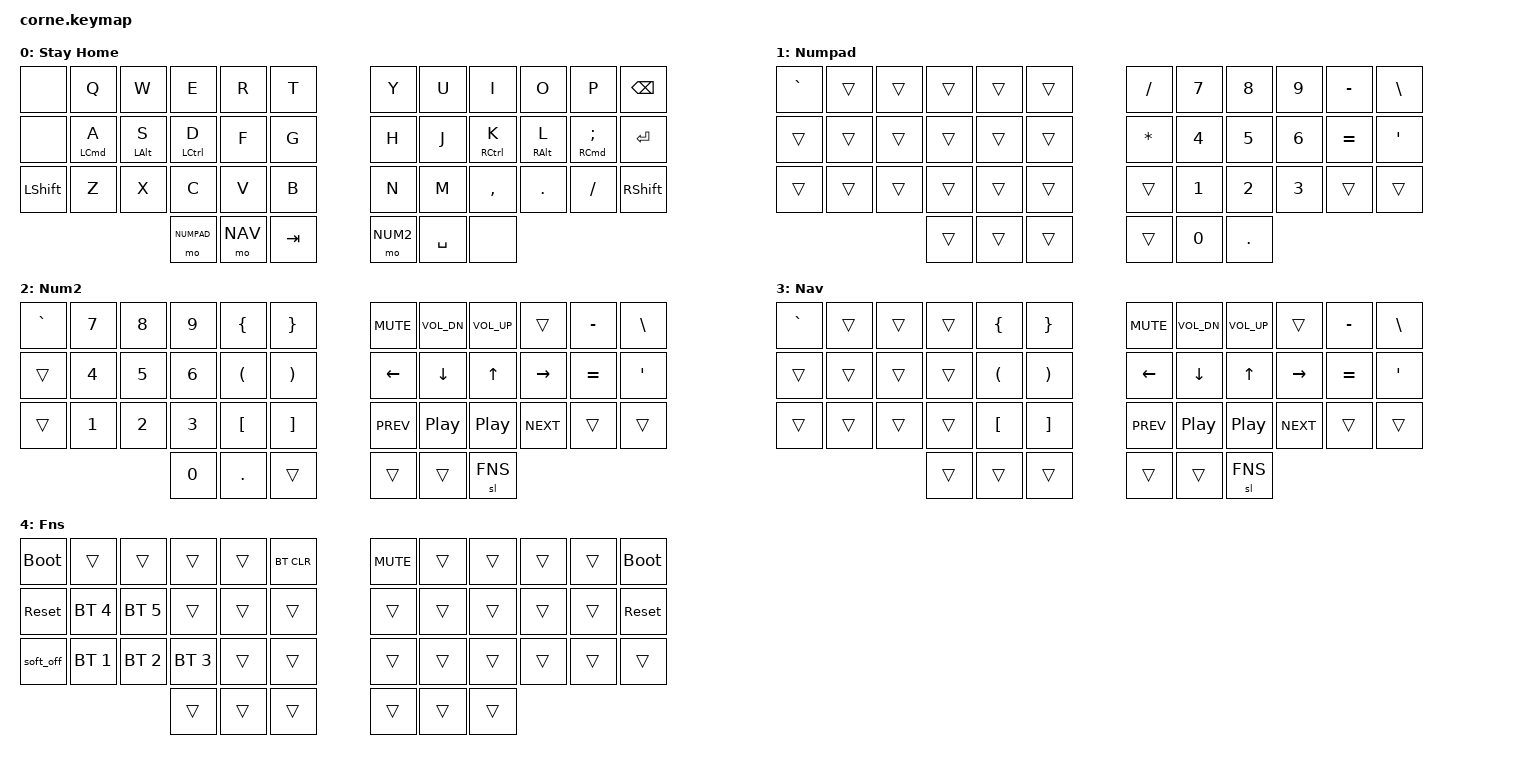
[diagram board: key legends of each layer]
/*
 * Copyright (c) 2020 The ZMK Contributors
 *
 * SPDX-License-Identifier: MIT
 */

#include <behaviors.dtsi>
#include <dt-bindings/zmk/keys.h>
#include <dt-bindings/zmk/bt.h>


#define STAY_HOME 0
#define NUMPAD    1
#define NUM2      2
#define NAV       3
#define FNS       4

#define LOPT LALT
#define ROPT RALT

#define KEYS_L 0 1 2 3 4 5 12 13 14 15 16 17 24 25 26 27 28 29
#define KEYS_R 6 7 8 9 10 11 18 19 20 21 22 23 30 31 32 33 34 35
#define THUMBS 36 37 38 39 40 41

/ {
  keymap {
    compatible = "zmk,keymap";
    stay_home_layer {
      display-name = "Stay Home";
      bindings = <
// ┏━━━━━━━┯━━━━━━━┯━━━━━━━┯━━━━━━━┯━━━━━━━┯━━━━━━━┓              ┏━━━━━━━┯━━━━━━━┯━━━━━━━┯━━━━━━━┯━━━━━━━┯━━━━━━━┓
// ┃       │   Q   │   W   │   E   │   R   │   T   ┃              ┃   Y   │   U   │   I   │   O   │   P   │  BKSP ┃
// ┠───────┼───────┼───────┼───────┼───────┼───────┨              ┠───────┼───────┼───────┼───────┼───────┼───────┨
// ┃       │  A ⌘  │  S ⌥  │  D ⌃  │   F   │   G   ┃              ┃   H   │   J   │  K ⌃  │  L ⌥  │ ; : ⌘ │  RET  ┃
// ┠───────┼───────┼───────┼───────┼───────┼───────┨              ┠───────┼───────┼───────┼───────┼───────┼───────┨
// ┃ SHIFT │   Z   │   X   │   C   │   V   │   B   ┃              ┃   N   │   M   │  , <  │  . >  │  / ?  │ SHIFT ┃
// ┗━━━━━━━┷━━━━━━━┷━━━━━━━╅───────┼───────┼───────┨              ┠───────┼───────┼───────╆━━━━━━━┷━━━━━━━┷━━━━━━━┛
//                         ┃NUMPAD │  NAV  │  TAB  ┃              ┃ NUM2  │ SPACE │       ┃
//                         ┗━━━━━━━┷━━━━━━━┷━━━━━━━┛              ┗━━━━━━━┷━━━━━━━┷━━━━━━━┛
    &none     &kp Q       &kp W       &kp E        &kp R   &kp T      &kp Y    &kp U     &kp I        &kp O       &kp P          &kp BSPC
    &none     &hml LCMD A &hml LOPT S &hml LCTRL D &kp F   &kp G      &kp H    &kp J     &hmr RCTRL K &hmr ROPT L &hmr RCMD SEMI &kp RET
    &kp LSHFT &kp Z       &kp X       &kp C        &kp V   &kp B      &kp N    &kp M     &kp COMMA    &kp DOT     &kp FSLH       &kp RSHFT
                                       &mo NUMPAD   &mo NAV &kp TAB    &mo NUM2 &kp SPACE &none
      >;
    };

    numpad_layer {
      display-name = "Numpad";
      bindings = <
// ┏━━━━━━━┯━━━━━━━┯━━━━━━━┯━━━━━━━┯━━━━━━━┯━━━━━━━┓     ┏━━━━━━━┯━━━━━━━┯━━━━━━━┯━━━━━━━┯━━━━━━━┯━━━━━━━┓
// ┃  ` ~  │       │       │       │       │       ┃     ┃  / ?  │  7 &  │  8 *  │  9 (  │  - _  │  \ |  ┃
// ┠───────┼───────┼───────┼───────┼───────┼───────┨     ┠───────┼───────┼───────┼───────┼───────┼───────┨
// ┃       │       │       │       │       │       ┃     ┃   *   │  4 $  │  5 %  │  6 ^  │  = +  │  ' "  ┃
// ┠───────┼───────┼───────┼───────┼───────┼───────┨     ┠───────┼───────┼───────┼───────┼───────┼───────┨
// ┃       │       │       │       │       │       ┃     ┃       │  1 !  │  2 @  │  3 #  │       │       ┃
// ┗━━━━━━━┷━━━━━━━┷━━━━━━━╅───────┼───────┼───────┨     ┠───────┼───────┼───────╆━━━━━━━┷━━━━━━━┷━━━━━━━┛
//                         ┃       │       │       ┃     ┃       │  0 )  │  . >  ┃
//                         ┗━━━━━━━┷━━━━━━━┷━━━━━━━┛     ┗━━━━━━━┷━━━━━━━┷━━━━━━━┛
    &kp GRAVE  &trans  &trans  &trans  &trans  &trans     &kp SLASH  &kp N7  &kp N8  &kp N9  &kp MINUS  &kp BSLH
    &trans     &trans  &trans  &trans  &trans  &trans     &kp STAR   &kp N4  &kp N5  &kp N6  &kp EQUAL  &kp APOS
    &trans     &trans  &trans  &trans  &trans  &trans     &trans     &kp N1  &kp N2  &kp N3  &trans  &trans
                               &trans  &trans  &trans     &trans     &kp N0  &kp DOT
      >;
    };

    other_number_layer {
      display-name = "Num2";
      bindings = <
// ┏━━━━━━━┯━━━━━━━┯━━━━━━━┯━━━━━━━┯━━━━━━━┯━━━━━━━┓         ┏━━━━━━━┯━━━━━━━┯━━━━━━━┯━━━━━━━┯━━━━━━━┯━━━━━━━┓
// ┃  ` ~  │  7 &  │  8 *  │  9 (  │   {   │   }   ┃         ┃ MUTE  │ VOL ▼ │ VOL ▲ │       │  - _  │  \ |  ┃
// ┠───────┼───────┼───────┼───────┼───────┼───────┨         ┠───────┼───────┼───────┼───────┼───────┼───────┨
// ┃       │  4 $  │  5 %  │  6 ^  │   (   │   )   ┃         ┃   ◀   │   ▼   │   ▲   │   ▶   │  = +  │  ' "  ┃
// ┠───────┼───────┼───────┼───────┼───────┼───────┨         ┠───────┼───────┼───────┼───────┼───────┼───────┨
// ┃       │  1 !  │  2 @  │  3 #  │   [   │   ]   ┃         ┃ PREV  │PLY/PS │PLY/PS │ NEXT  │       │       ┃
// ┗━━━━━━━┷━━━━━━━┷━━━━━━━╅───────┼───────┼───────┨         ┠───────┼───────┼───────╆━━━━━━━┷━━━━━━━┷━━━━━━━┛
//                         ┃  0 )  │  . >  │ <TAB> ┃         ┃       │       │STKY FN┃
//                         ┗━━━━━━━┷━━━━━━━┷━━━━━━━┛         ┗━━━━━━━┷━━━━━━━┷━━━━━━━┛
    &kp GRAVE  &kp N7  &kp N8  &kp N9  &kp LBRC  &kp RBRC     &kp C_MUTE &kp C_VOL_DN &kp C_VOL_UP &trans     &kp MINUS  &kp BSLH
    &trans     &kp N4  &kp N5  &kp N6  &kp LPAR  &kp RPAR     &kp LEFT   &kp DOWN     &kp UP       &kp RIGHT  &kp EQUAL  &kp APOS
    &trans     &kp N1  &kp N2  &kp N3  &kp LBKT  &kp RBKT     &kp C_PREV &kp C_PP     &kp C_PP     &kp C_NEXT &trans     &trans
                               &kp N0  &kp DOT   &trans       &trans     &trans       &sl FNS
      >;
    };

    nav_layer {
      display-name = "Nav";
      bindings = <
// ┏━━━━━━━┯━━━━━━━┯━━━━━━━┯━━━━━━━┯━━━━━━━┯━━━━━━━┓         ┏━━━━━━━┯━━━━━━━┯━━━━━━━┯━━━━━━━┯━━━━━━━┯━━━━━━━┓
// ┃  ` ~  │       │       │       │   {   │   }   ┃         ┃ MUTE  │ VOL ▼ │ VOL ▲ │       │  - _  │  \ |  ┃
// ┠───────┼───────┼───────┼───────┼───────┼───────┨         ┠───────┼───────┼───────┼───────┼───────┼───────┨
// ┃       │       │       │       │   (   │   )   ┃         ┃   ◀   │   ▼   │   ▲   │   ▶   │  = +  │  ' "  ┃
// ┠───────┼───────┼───────┼───────┼───────┼───────┨         ┠───────┼───────┼───────┼───────┼───────┼───────┨
// ┃       │       │       │       │   [   │   ]   ┃         ┃ PREV  │PLY/PS │PLY/PS │ NEXT  │       │       ┃
// ┗━━━━━━━┷━━━━━━━┷━━━━━━━╅───────┼───────┼───────┨         ┠───────┼───────┼───────╆━━━━━━━┷━━━━━━━┷━━━━━━━┛
//                         ┃       │       │       ┃         ┃       │       │STKY FN┃
//                         ┗━━━━━━━┷━━━━━━━┷━━━━━━━┛         ┗━━━━━━━┷━━━━━━━┷━━━━━━━┛
    &kp GRAVE  &trans  &trans  &trans  &kp LBRC  &kp RBRC     &kp C_MUTE &kp C_VOL_DN &kp C_VOL_UP &trans     &kp MINUS  &kp BSLH
    &trans     &trans  &trans  &trans  &kp LPAR  &kp RPAR     &kp LEFT   &kp DOWN     &kp UP       &kp RIGHT  &kp EQUAL  &kp APOS
    &trans     &trans  &trans  &trans  &kp LBKT  &kp RBKT     &kp C_PREV &kp C_PP     &kp C_PP     &kp C_NEXT &trans     &trans
                               &trans  &trans    &trans       &trans     &trans       &sl FNS
      >;
    };

    function_layer {
      display-name = "Fns";
      bindings = <
// ┏━━━━━━━┯━━━━━━━┯━━━━━━━┯━━━━━━━┯━━━━━━━┯━━━━━━━┓                     ┏━━━━━━━┯━━━━━━━┯━━━━━━━┯━━━━━━━┯━━━━━━━┯━━━━━━━┓
// ┃ BOOT  │       │       │       │       │BT CLR ┃                     ┃ MUTE* │       │       │       │       │ BOOT  ┃
// ┠───────┼───────┼───────┼───────┼───────┼───────┨                     ┠───────┼───────┼───────┼───────┼───────┼───────┨
// ┃ RESET │ BT 4  │ BT 5  │       │       │       ┃                     ┃       │       │       │       │       │ RESET ┃
// ┠───────┼───────┼───────┼───────┼───────┼───────┨                     ┠───────┼───────┼───────┼───────┼───────┼───────┨
// ┃SOFTOFF│ BT 1  │ BT 2  │ BT 3  │       │       ┃                     ┃       │       │       │       │       │       ┃
// ┗━━━━━━━┷━━━━━━━┷━━━━━━━╅───────┼───────┼───────┨                     ┠───────┼───────┼───────╆━━━━━━━┷━━━━━━━┷━━━━━━━┛
//                         ┃       │       │       ┃                     ┃       │       │       ┃
//                         ┗━━━━━━━┷━━━━━━━┷━━━━━━━┛                     ┗━━━━━━━┷━━━━━━━┷━━━━━━━┛
//  Reach this layer: hold NUMPAD + NAV together, or tap STKY FN on NUM2/NAV
//  MUTE*: use as a canary to make sure you can get to this layer
//  BOOT, RESET: act only on the half that is pressed, so each half has its own
//  SOFTOFF: hold 1 s to turn both halves fully off; press each half's reset button to turn on
    &bootloader  &trans        &trans        &trans        &trans  &bt BT_CLR  &kp C_MUTE  &trans  &trans  &trans  &trans  &bootloader
    &sys_reset   &bt BT_SEL 4  &bt BT_SEL 5  &trans        &trans  &trans      &trans      &trans  &trans  &trans  &trans  &sys_reset
    &soft_off    &bt BT_SEL 1  &bt BT_SEL 2  &bt BT_SEL 3  &trans  &trans      &trans      &trans  &trans  &trans  &trans  &trans
                                             &trans        &trans  &trans      &trans      &trans  &trans
      >;
    };
  };
};

////// CONDITIONAL LAYERS //////////////////////////////////////////////////////////////////////////////
// Hold both left thumb layer keys to get FNS:
//                         ┏━━━━━━━┯━━━━━━━┯━━━━━━━┓
//                         ┃NUMPAD │  NAV  │  TAB  ┃
//                         ┗━━━┯━━━┷━━━┯━━━┷━━━━━━━┛
//                             └── + ──┘
//                                FNS
/ {
  conditional_layers {
    compatible = "zmk,conditional-layers";
    tri_layer {
      if-layers = <NUMPAD NAV>;
      then-layer = <FNS>;
    };
  };
};

////// COMBOS /////////////////////////////////////////////////////////////////////////////////////////
// ┏━━━━━━━┯━━━━━━━┯━━━━━━━┯━━━━━━━┯━━━━━━━┯━━━━━━━┓  ┏━━━━━━━┯━━━━━━━┯━━━━━━━┯━━━━━━━┯━━━━━━━┯━━━━━━━┓
// ┃   0   │   1   │   2   │   3   │   4   │   5   ┃  ┃   6   │   7   │   8   │   9   │  10   │  11   ┃
// ┠───────┼───────┼───────┼───────┼───────┼───────┨  ┠───────┼───────┼───────┼───────┼───────┼───────┨
// ┃  12   │  13   │  14   │  15   │  16   │  17   ┃  ┃  18   │  19   │  20   │  21   │  22   │  23   ┃
// ┠───────┼───────┼───────┼───────┼───────┼───────┨  ┠───────┼───────┼───────┼───────┼───────┼───────┨
// ┃  24   │  25   │  26   │  27   │  28   │  29   ┃  ┃  30   │  31   │  32   │  33   │  34   │  35   ┃
// ┗━━━━━━━┷━━━━━━━┷━━━━━━━╅───────┼───────┼───────┨  ┠───────┼───────┼───────╆━━━━━━━┷━━━━━━━┷━━━━━━━┛
//                         ┃  36   │  37   │  38   ┃  ┃  39   │  40   │  41   ┃
//                         ┗━━━━━━━┷━━━━━━━┷━━━━━━━┛  ┗━━━━━━━┷━━━━━━━┷━━━━━━━┛
/ {
  combos {
    compatible = "zmk,combos";
    combo_fj_esc {
      timeout-ms = <50>;
      require-prior-idle-ms = <150>;
      key-positions = <16 19>;
      bindings = <&kp ESC>;
    };

    combo_gh_caps_word {
      timeout-ms = <50>;
      require-prior-idle-ms = <150>;
      key-positions = <17 18>;
      bindings = <&caps_word>;
    };
  };
};

////// BEHAVIORS ///////////////////////////////////////////////////////////////////////////////////////
// The right half turns off as soon as the key is pressed, not after the hold.
&soft_off {
  hold-time-ms = <1000>;
};

/ {
  behaviors {
    // https://zmk.dev/docs/keymaps/behaviors/hold-tap
    // A home row mod resolves to hold only when the next key is on the
    // opposite hand or a thumb, so same-hand rolls ("as", "sd") always type
    // letters. hold-trigger-on-release defers that check to key release so
    // same-hand mods can still stack (A+S = Cmd+Opt).
    hml: homerow_mods_left {
      compatible = "zmk,behavior-hold-tap";
      #binding-cells = <2>;
      tapping-term-ms = <250>;
      quick-tap-ms = <200>;
      require-prior-idle-ms = <200>;
      flavor = "balanced";
      bindings = <&kp>, <&kp>;
      hold-trigger-key-positions = <KEYS_R THUMBS>;
      hold-trigger-on-release;
    };

    hmr: homerow_mods_right {
      compatible = "zmk,behavior-hold-tap";
      #binding-cells = <2>;
      tapping-term-ms = <250>;
      quick-tap-ms = <200>;
      require-prior-idle-ms = <200>;
      flavor = "balanced";
      bindings = <&kp>, <&kp>;
      hold-trigger-key-positions = <KEYS_L THUMBS>;
      hold-trigger-on-release;
    };
  };
};

//     XXX_layer {
//       display-name = "Xxx";
//       bindings = <
// // ┏━━━━━━━┯━━━━━━━┯━━━━━━━┯━━━━━━━┯━━━━━━━┯━━━━━━━┓  ┏━━━━━━━┯━━━━━━━┯━━━━━━━┯━━━━━━━┯━━━━━━━┯━━━━━━━┓
// // ┃       │       │       │       │       │       ┃  ┃       │       │       │       │       │       ┃
// // ┠───────┼───────┼───────┼───────┼───────┼───────┨  ┠───────┼───────┼───────┼───────┼───────┼───────┨
// // ┃       │       │       │       │       │       ┃  ┃       │       │       │       │       │       ┃
// // ┠───────┼───────┼───────┼───────┼───────┼───────┨  ┠───────┼───────┼───────┼───────┼───────┼───────┨
// // ┃       │       │       │       │       │       ┃  ┃       │       │       │       │       │       ┃
// // ┗━━━━━━━┷━━━━━━━┷━━━━━━━╅───────┼───────┼───────┨  ┠───────┼───────┼───────╆━━━━━━━┷━━━━━━━┷━━━━━━━┛
// //                         ┃       │       │       ┃  ┃       │       │       ┃
// //                         ┗━━━━━━━┷━━━━━━━┷━━━━━━━┛  ┗━━━━━━━┷━━━━━━━┷━━━━━━━┛
//     &trans  &trans  &trans  &trans  &trans  &trans     &trans  &trans  &trans  &trans  &trans  &trans
//     &trans  &trans  &trans  &trans  &trans  &trans     &trans  &trans  &trans  &trans  &trans  &trans
//     &trans  &trans  &trans  &trans  &trans  &trans     &trans  &trans  &trans  &trans  &trans  &trans
//                             &trans  &trans  &trans     &trans  &trans  &trans
//       >;
//     };
